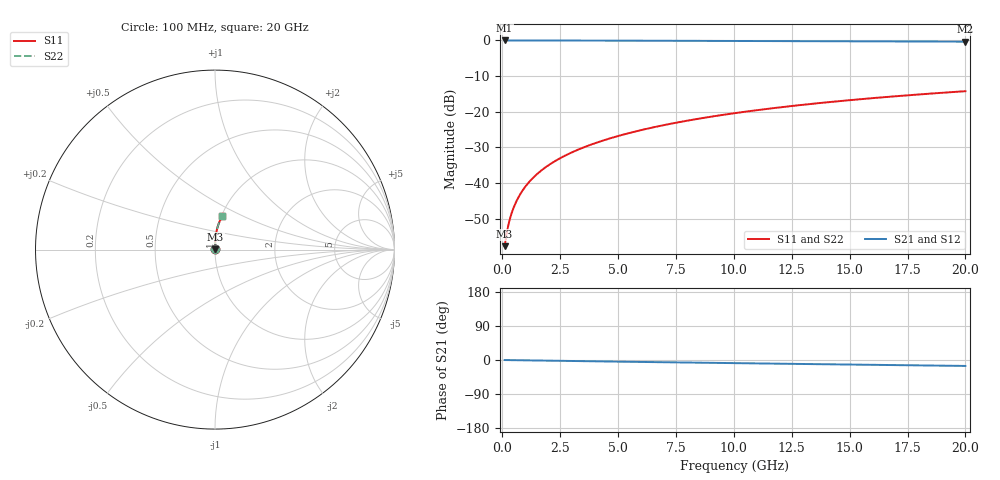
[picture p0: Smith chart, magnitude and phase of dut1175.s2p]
! Touchstone file exported from HFSS 2024.1.0
!  File:  C:/UserFiles/LocalFiles/RDL_TSV_Batchsim/temp_RDL_bottom_1175_1780057053.aedt
!  Generated:  08:19:51 PM May 29, 2026
!  Design:  RDL_bottom
!  Project:  temp_RDL_bottom_1175_1780057053
!  Setup:  Setup1
!  Solution:  Sweep
! Variables:
!  dtsv = 10.80580581um
!  hbump = 3um
!  htsv = 56.68um
!  ldown = 166.09um
!  lrdl = 100um
!  p = 40
!  p1 = 58.28um
!  rhole = 1um
!  t = 450um
!  tdown = 3.96um
!  trdl = 3.915915916um
!  wdown = 20.54um
!  wrdl = 20um
# GHz S MA R 50.000000
! Terminal data exported
! Port[1] = RDL1_T1
! Port[2] = RDL1_T2
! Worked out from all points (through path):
!   200 points, 100 MHz to 20 GHz, reference 50 ohm
!   highest |S21| = -0.01 dB at 100 MHz (marker M1); lowest = -0.3 dB at 20 GHz (marker M2)
!   group delay of S21, straight-line fit = 2.16 ps
!   lowest |S11| = -57.7 dB at 100 MHz (marker M3), VSWR 1.00, Z = 50.1 + j0.0938 ohm
!   |S11| at or under -10 dB: start of sweep to end of sweep
!   |S22| runs from -57.7 to -14.2 dB; largest |S21 - S12| = 3.4e-15
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0.1  0.001305 45.8  0.9991 -0.1  0.9991 -0.1  0.001305 45.8
! Gamma 0 0 0 0
! Port Impedance 50 0 50 0
0.2  0.002078 63.0  0.999 -0.2  0.999 -0.2  0.002078 63.0
0.3  0.002915 70.4  0.999 -0.3  0.999 -0.3  0.002915 70.4
0.4  0.003765 74.5  0.9989 -0.4  0.9989 -0.4  0.003765 74.5
0.5  0.004622 77.2  0.9989 -0.5  0.9989 -0.5  0.004622 77.2
0.7  0.006348 80.6  0.9988 -0.6  0.9988 -0.6  0.006348 80.6
0.8  0.007217 81.7  0.9987 -0.7  0.9987 -0.7  0.007217 81.7
1  0.008965 83.3  0.9986 -0.9  0.9986 -0.9  0.008965 83.3
1.2  0.01072 84.4  0.9985 -1.1  0.9985 -1.1  0.01072 84.4
1.4  0.01249 85.3  0.9984 -1.2  0.9984 -1.2  0.01249 85.3
1.7  0.01516 86.2  0.9981 -1.5  0.9981 -1.5  0.01516 86.2
2  0.01784 86.8  0.9978 -1.8  0.9978 -1.8  0.01784 86.8
2.7  0.02417 87.7  0.997 -2.4  0.997 -2.4  0.02417 87.7
3.5  0.03153 88.2  0.9958 -3.1  0.9958 -3.1  0.03153 88.2
4.2  0.03807 88.4  0.9946 -3.7  0.9946 -3.7  0.03807 88.4
5  0.04568 88.4  0.9932 -4.3  0.9932 -4.3  0.04568 88.4
6.8  0.06321 87.9  0.9896 -5.8  0.9896 -5.8  0.06321 87.9
8.4  0.07913 87.0  0.9863 -7.0  0.9863 -7.0  0.07912 87.0
10.1  0.09622 85.8  0.9828 -8.3  0.9828 -8.3  0.09621 85.8
13.4  0.1294 83.2  0.9759 -10.8  0.9759 -10.8  0.1294 83.2
16.7  0.1622 80.5  0.9688 -13.3  0.9688 -13.3  0.1622 80.5
20  0.1942 77.7  0.9612 -15.7  0.9612 -15.7  0.1942 77.7
